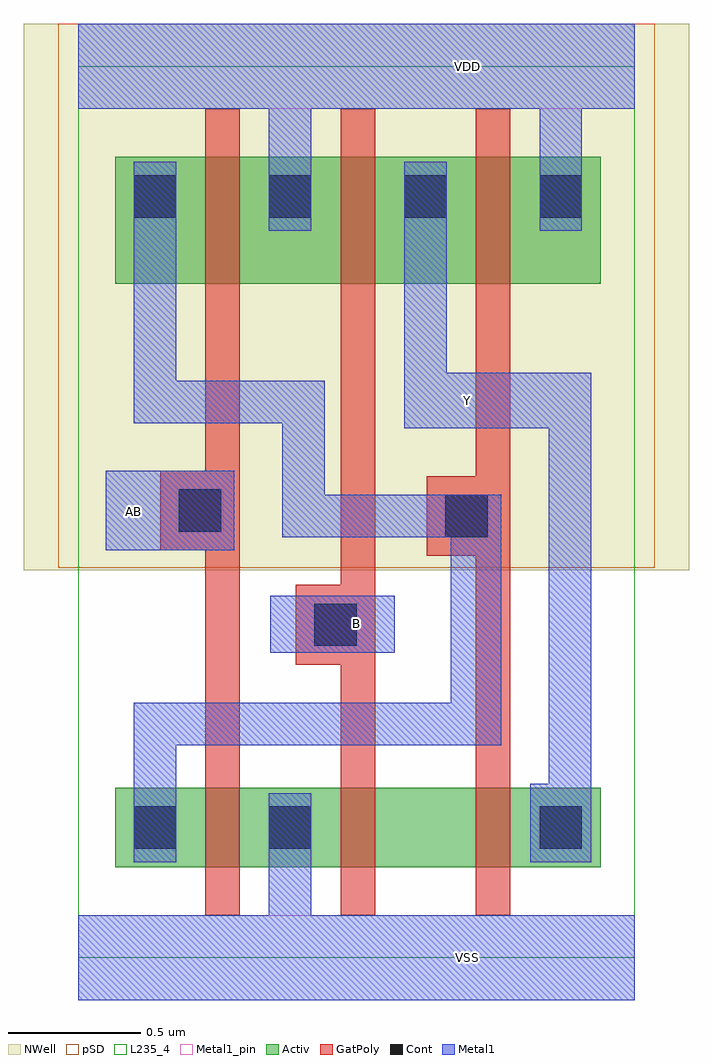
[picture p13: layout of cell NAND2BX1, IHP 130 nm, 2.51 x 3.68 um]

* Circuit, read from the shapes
.subckt NAND2BX1 AB B VDD VSS Y
XM1 VSS AB n1 VSUBS sg13_lv_nmos w=0.3u l=0.13u
XM2 n2 B VSS VSUBS sg13_lv_nmos w=0.3u l=0.13u
XM3 Y n1 n2 VSUBS sg13_lv_nmos w=0.3u l=0.13u
XM4 VDD AB n1 n3 sg13_lv_pmos w=0.48u l=0.13u
XM5 Y B VDD n3 sg13_lv_pmos w=0.48u l=0.13u
XM6 VDD n1 Y n3 sg13_lv_pmos w=0.48u l=0.13u
.ends

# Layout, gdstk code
import gdstk
lib = gdstk.Library(unit=1e-6, precision=1e-09)
def R(c, l, rs):  # rectangles x0, y0, x1, y1
    for r in rs: c.add(gdstk.rectangle(r[:2], r[2:], *l))
def A(c, l, x, y, w, h, nx, ny, dx, dy):  # array of equal rectangles
    R(c, l, [(x+i*dx, y+j*dy, x+i*dx+w, y+j*dy+h) for i in range(nx) for j in range(ny)])
Activ = (1, 0)
GatPoly = (5, 0)
Cont = (6, 0)
Metal1 = (8, 0)
Metal1_pin = (8, 2)
pSD = (14, 0)
NWell = (31, 0)
L235_4 = (235, 4)

nand2bx1 = lib.new_cell('NAND2BX1')
R(nand2bx1, Activ, [(0.14,0.34,1.97,0.64), (0.14,2.54,1.97,3.02)])
A(nand2bx1, GatPoly, 0.48, 0.16, 0.13, 3.04, 3, 1, 0.51, 0)
R(nand2bx1, GatPoly, [(0.82,1.105,0.99,1.405), (1.315,1.515,1.5,1.815), (0.31,1.535,0.48,1.835)])
A(nand2bx1, Cont, 0.72, 2.79, 0.16, 0.16, 3, 1, 0.51, 0)
R(nand2bx1, Cont, [(0.21,0.41,0.37,0.57), (0.72,0.41,0.88,0.57), (0.72,0.41,0.88,0.57), (1.74,0.41,1.9,0.57), (0.89,1.175,1.05,1.335), (1.385,1.585,1.545,1.745), (0.38,1.605,0.54,1.765), (0.21,2.79,0.37,2.95), (0.72,2.79,0.88,2.95)])
R(nand2bx1, Metal1, [(0,-0.16,2.1,0.16), (0.72,0.16,0.88,0.62), (0.21,0.36,0.37,0.96), (1.705,0.36,1.775,0.655), (1.775,0.36,1.935,1.995), (0.37,0.8,1.595,0.96), (1.405,0.96,1.595,1.745), (0.725,1.15,1.195,1.365), (0.105,1.535,0.59,1.835), (0.77,1.585,0.93,2.015), (0.93,1.585,1.405,1.745), (1.23,1.995,1.935,2.205), (0.21,2.015,0.37,3), (0.37,2.015,0.93,2.175), (1.23,2.205,1.39,3), (0.72,2.74,0.88,3.2), (1.74,2.74,1.9,3.2), (0,3.2,2.1,3.52)])
R(nand2bx1, Metal1_pin, [(0,-0.16,2.1,0.16), (1.705,0.36,1.775,0.655), (1.775,0.36,1.935,1.995), (0.725,1.15,1.195,1.365), (0.105,1.535,0.59,1.835), (1.23,1.995,1.935,2.205), (1.23,2.205,1.39,3), (0,3.2,2.1,3.52)])
R(nand2bx1, pSD, [(-0.075,1.47,2.175,3.52)])
R(nand2bx1, NWell, [(-0.205,1.46,2.305,3.52)])
R(nand2bx1, L235_4, [(0,0,2.1,3.36)])
nand2bx1.add(gdstk.Label('VDD', (1.47,3.36), layer=8, texttype=25))
nand2bx1.add(gdstk.Label('VSS', (1.47,0), layer=8, texttype=25))
nand2bx1.add(gdstk.Label('AB', (0.21,1.68), layer=8, texttype=25))
nand2bx1.add(gdstk.Label('Y', (1.47,2.1), layer=8, texttype=25))
nand2bx1.add(gdstk.Label('B', (1.05,1.26), layer=8, texttype=25))

lib.write_gds('NAND2BX1.gds')
